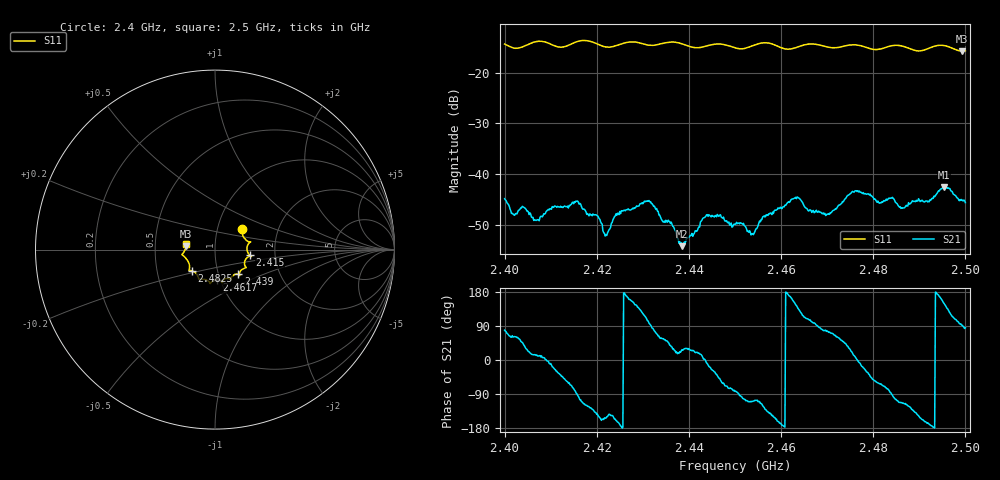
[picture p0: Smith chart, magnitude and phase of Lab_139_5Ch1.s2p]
# Hz S RI R 50
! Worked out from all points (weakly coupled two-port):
!   601 points, 2.4 GHz to 2.5 GHz, reference 50 ohm
!   highest |S21| = -42.58 dB at 2.4953 GHz (marker M1); lowest = -54.2 dB at 2.4385 GHz (marker M2)
!   lowest |S11| = -15.8 dB at 2.4993 GHz (marker M3), VSWR 1.39, Z = 36.1 + j1.42 ohm
!   |S11| at or under -10 dB: start of sweep to end of sweep
!   S12 and S22 are empty: the file has one direction only
!   S11 on the Smith chart (normalised r, x): 2.4 GHz: 1.32, +0.32; 2.415 GHz: 1.48, -0.10; 2.439 GHz: 1.24, -0.35; 2.4617 GHz: 0.96, -0.34; 2.4825 GHz: 0.75, -0.18; 2.5 GHz: 0.72, +0.05
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2.4e9  0.152 0.1156  0.00111 0.0056  0 0  0 0
2.406833e9  0.1975 0.0425  0.00341 0.000728  0 0  0 0
2.415e9  0.1932 -0.0319  0.00122 -0.00496  0 0  0 0
2.416667e9  0.2029 -0.0387  -0.0016 -0.00452  0 0  0 0
2.422e9  0.1696 -0.0556  -0.00223 -0.00113  0 0  0 0
2.430667e9  0.1543 -0.1086  -0.00202 0.00502  0 0  0 0
2.433333e9  0.1369 -0.1307  0.00191 0.00383  0 0  0 0
2.4385e9  0.1326 -0.1388  0.00173 0.000892  0 0  0 0
2.439e9  0.1294 -0.1371  0.00186 0.00105  0 0  0 0
2.444e9  0.0886 -0.161  0.00391 -0.000686  0 0  0 0
2.45e9  0.0706 -0.1607  0.000404 -0.00318  0 0  0 0
2.453833e9  0.04 -0.1796  -0.000853 -0.00243  0 0  0 0
2.461667e9  0.00868 -0.1698  -0.00526 0.000899  0 0  0 0
2.466667e9  -0.0262 -0.1897  -0.000771 0.00412  0 0  0 0
2.470167e9  -0.0391 -0.1738  0.00103 0.00388  0 0  0 0
2.475833e9  -0.0884 -0.1656  0.00649 0.00134  0 0  0 0
2.4825e9  -0.1305 -0.1176  0.00188 -0.00508  0 0  0 0
2.483333e9  -0.1381 -0.1166  0.00111 -0.00566  0 0  0 0
2.4865e9  -0.1439 -0.1108  -0.00185 -0.00425  0 0  0 0
2.495333e9  -0.1828 -0.0258  -0.00643 0.00373  0 0  0 0
2.499333e9  -0.1616 0.0192  -0.000143 0.00549  0 0  0 0
2.5e9  -0.1612 0.031  0.000467 0.0052  0 0  0 0
